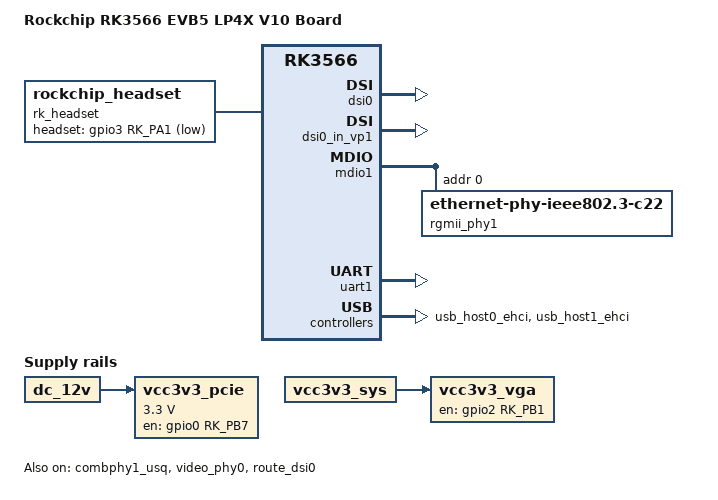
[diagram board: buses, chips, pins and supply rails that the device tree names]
// SPDX-License-Identifier: (GPL-2.0+ OR MIT)
/*
 * Copyright (c) 2020 Rockchip Electronics Co., Ltd.
 */

/dts-v1/;

#include <dt-bindings/gpio/gpio.h>
#include <dt-bindings/pinctrl/rockchip.h>
#include "rk3566.dtsi"
#include "rk3566-evb.dtsi"

/ {
	model = "Rockchip RK3566 EVB5 LP4X V10 Board";
	compatible = "rockchip,rk3566-evb5-lp4x-v10", "rockchip,rk3566";

	vcc3v3_pcie: gpio-regulator {
		compatible = "regulator-fixed";
		regulator-name = "vcc3v3_pcie";
		regulator-min-microvolt = <3300000>;
		regulator-max-microvolt = <3300000>;
		enable-active-high;
		gpio = <&gpio0 RK_PB7 GPIO_ACTIVE_HIGH>;
		startup-delay-us = <5000>;
		vin-supply = <&dc_12v>;
	};

	rk_headset: rk-headset {
		compatible = "rockchip_headset";
		headset_gpio = <&gpio3 RK_PA1 GPIO_ACTIVE_LOW>;
		pinctrl-names = "default";
		pinctrl-0 = <&hp_det>;
	};

	vcc3v3_vga: vcc3v3-vga {
		compatible = "regulator-fixed";
		regulator-name = "vcc3v3_vga";
		regulator-always-on;
		regulator-boot-on;
		gpio = <&gpio2 RK_PB1 GPIO_ACTIVE_HIGH>;
		enable-active-high;
		vin-supply = <&vcc3v3_sys>;
	};
};

&audiopwmout_diff {
	status = "disabled";
};

&combphy1_usq {
	status = "okay";
};

&combphy2_psq {
	status = "disabled";
};

&dig_acodec {
	status = "disabled";
	rockchip,pwm-output-mode;
	pinctrl-names = "default";
	pinctrl-0 = <&audiopwm_loutp
		&audiopwm_loutn
		&audiopwm_routp
		&audiopwm_routn
	>;
};

/*
 * video_phy0 needs to be enabled
 * when dsi0 is enabled
 */
&dsi0 {
	status = "okay";
	connect = <&vp1_out_dsi0>;
};

&dsi0_in_vp0 {
	status = "disabled";
};

&dsi0_in_vp1 {
	status = "okay";
};

&dsi0_panel {
	power-supply = <&vcc3v3_lcd0_n>;
	reset-gpios = <&gpio4 RK_PC5 GPIO_ACTIVE_LOW>;
	pinctrl-names = "default";
	pinctrl-0 = <&lcd0_rst_gpio>;
};

/*
 * video_phy1 needs to be enabled
 * when dsi1 is enabled
 */
&dsi1 {
	status = "disabled";
};

&dsi1_in_vp0 {
	status = "disabled";
};

&dsi1_in_vp1 {
	status = "disabled";
};

&dsi1_panel {
	power-supply = <&vcc3v3_lcd1_n>;
	reset-gpios = <&gpio4 RK_PC6 GPIO_ACTIVE_LOW>;
	pinctrl-names = "default";
	pinctrl-0 = <&lcd1_rst_gpio>;
};

&edp {
	hpd-gpios = <&gpio4 RK_PC4 GPIO_ACTIVE_HIGH>;
	status = "disabled";
};

&edp_phy {
	status = "disabled";
};

&edp_in_vp0 {
	status = "disabled";
};

&edp_in_vp1 {
	status = "disabled";
};

&gmac1 {
	phy-mode = "rgmii";
	clock_in_out = "output";

	snps,reset-gpio = <&gpio4 RK_PC2 GPIO_ACTIVE_LOW>;
	snps,reset-active-low;
	/* Reset time is 20ms, 100ms for rtl8211f */
	snps,reset-delays-us = <0 20000 100000>;

	assigned-clocks = <&cru SCLK_GMAC1_RX_TX>, <&cru SCLK_GMAC1>;
	assigned-clock-parents = <&cru SCLK_GMAC1_RGMII_SPEED>, <&cru CLK_MAC1_2TOP>;
	assigned-clock-rates = <0>, <125000000>;

	pinctrl-names = "default";
	pinctrl-0 = <&gmac1m0_miim
		     &gmac1m0_tx_bus2_level3
		     &gmac1m0_rx_bus2
		     &gmac1m0_rgmii_clk_level2
		     &gmac1m0_rgmii_bus_level3>;

	tx_delay = <0x41>;
	rx_delay = <0x2e>;

	phy-handle = <&rgmii_phy1>;
	status = "disabled";
};

/*
 * power-supply should switche to vcc3v3_lcd1_n
 * when mipi panel is connected to dsi1.
 */
&gt1x {
	power-supply = <&vcc3v3_lcd0_n>;
};

&i2c5 {
	status = "disabled";
};

&i2s3_2ch {
	status = "disabled";
};

&mdio1 {
	rgmii_phy1: phy@0 {
		compatible = "ethernet-phy-ieee802.3-c22";
		reg = <0x0>;
	};
};

&video_phy0 {
	status = "okay";
};

&video_phy1 {
	status = "disabled";
};

&pcie2x1 {
	reset-gpios = <&gpio1 RK_PB2 GPIO_ACTIVE_HIGH>;
	vpcie3v3-supply = <&vcc3v3_pcie>;
	status = "disabled";
};

&pdm {
	status = "disabled";
	pinctrl-names = "default";
	pinctrl-0 = <&pdmm1_clk1
		     &pdmm1_sdi1
		     &pdmm1_sdi2
		     &pdmm1_sdi3>;
};

&pdmics {
	status = "disabled";
};

&pdm_mic_array {
	status = "disabled";
};

&route_dsi0 {
	status = "okay";
};

&sdmmc2 {
	status = "disabled";
};

&uart1 {
	status = "okay";
	pinctrl-names = "default";
	pinctrl-0 = <&uart1m1_xfer &uart1m1_ctsn>;
};

&uart3 {
	status = "disabled";
};

&uart4 {
	status = "disabled";
};

&uart7 {
	status = "disabled";
};

&usb_host0_ehci {
	status = "okay";
};

&usb_host0_ohci {
	status = "disabled";
};

&usb_host1_ehci {
	status = "okay";
};

&usb_host1_ohci {
	status = "disabled";
};

&vcc3v3_lcd0_n {
	gpio = <&gpio0 RK_PC0 GPIO_ACTIVE_HIGH>;
	enable-active-high;
};

&vcc3v3_lcd1_n {
	gpio = <&gpio0 RK_PC2 GPIO_ACTIVE_HIGH>;
	enable-active-high;
};

&wireless_bluetooth {
	uart_rts_gpios = <&gpio4 RK_PB6 GPIO_ACTIVE_LOW>;
	pinctrl-names = "default", "rts_gpio";
	pinctrl-0 = <&uart1m1_rtsn>;
	pinctrl-1 = <&uart1_gpios>;
	BT,reset_gpio    = <&gpio4 RK_PA5 GPIO_ACTIVE_HIGH>;
	BT,wake_gpio     = <&gpio4 RK_PA6 GPIO_ACTIVE_HIGH>;
	BT,wake_host_irq = <&gpio4 RK_PB1 GPIO_ACTIVE_HIGH>;
	status = "disabled";
};

&wireless_wlan {
	pinctrl-names = "default";
	pinctrl-0 = <&wifi_host_wake_irq>;
	status = "disabled";
};

&work_led {
	status = "disabled";
};

&pinctrl {
	headphone {
		hp_det: hp-det {
			rockchip,pins = <3 RK_PA1 RK_FUNC_GPIO &pcfg_pull_down>;
		};
	};

	lcd0 {
		lcd0_rst_gpio: lcd0-rst-gpio {
			rockchip,pins = <4 RK_PC5 RK_FUNC_GPIO &pcfg_pull_none>;
		};
	};

	lcd1 {
		lcd1_rst_gpio: lcd1-rst-gpio {
			rockchip,pins = <4 RK_PC6 RK_FUNC_GPIO &pcfg_pull_none>;
		};
	};

	wireless-wlan {
		wifi_host_wake_irq: wifi-host-wake-irq {
			rockchip,pins = <3 RK_PD4 RK_FUNC_GPIO &pcfg_pull_down>;
		};
	};

	wireless-bluetooth {
		uart1_gpios: uart1-gpios {
			rockchip,pins = <4 RK_PB6 RK_FUNC_GPIO &pcfg_pull_none>;
		};
	};
};
